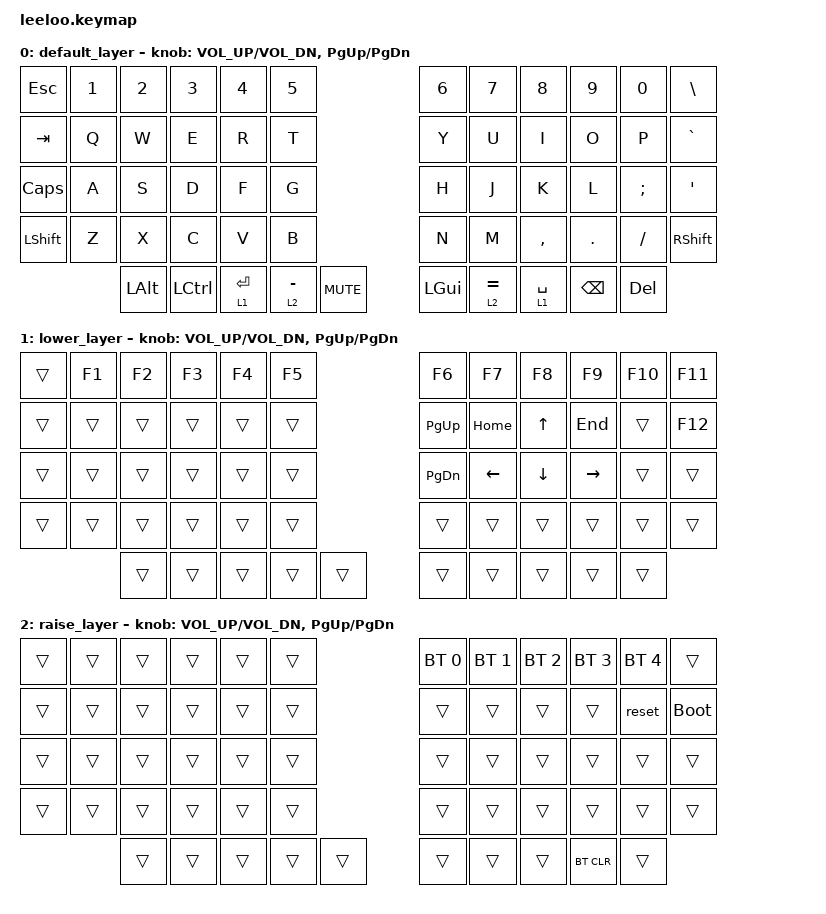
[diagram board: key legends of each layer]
/*
 * Copyright (c) 2022 The ZMK Contributors
 *
 * SPDX-License-Identifier: MIT
 */
#include <behaviors.dtsi>
#include <dt-bindings/zmk/outputs.h>
#include <dt-bindings/zmk/keys.h>
#include <dt-bindings/zmk/bt.h>

// Layers
#define DEFAULT    0       // default_layer
#define LOWER      1       // lower_layer
#define RAISE      2       // raise_layer

/ {

    keymap {
        compatible = "zmk,keymap";

        default_layer {
            bindings = <
&kp ESC    &kp N1     &kp N2     &kp N3     &kp N4     &kp N5                           &kp N6     &kp N7     &kp N8     &kp N9     &kp N0     &kp BSLH
&kp TAB    &kp Q      &kp W      &kp E      &kp R      &kp T                            &kp Y      &kp U      &kp I      &kp O      &kp P      &kp GRAV
&kp CAPS   &kp A      &kp S      &kp D      &kp F      &kp G                            &kp H      &kp J      &kp K      &kp L      &kp SEMI   &kp SQT
&kp LSHFT  &kp Z      &kp X      &kp C      &kp V      &kp B                            &kp N      &kp M      &kp COMMA  &kp DOT    &kp FSLH   &kp RSHFT
                   &kp LALT   &kp LCTRL  &lt 1 RET  &lt 2 MINUS   &kp K_MUTE   &kp LGUI   &lt 2 EQUAL  &lt 1 SPACE  &kp BSPC   &kp DEL
            >;

            sensor-bindings = <&inc_dec_kp C_VOL_UP C_VOL_DN &inc_dec_kp PG_UP PG_DN>;
        };

        lower_layer {
            bindings = <
&trans     &kp F1     &kp F2     &kp F3     &kp F4     &kp F5                           &kp F6     &kp F7     &kp F8     &kp F9     &kp F10    &kp F11
&trans     &trans     &trans     &trans     &trans     &trans                           &kp PG_UP  &kp HOME   &kp UP     &kp END    &trans     &kp F12
&trans     &trans     &trans     &trans     &trans     &trans                           &kp PG_DN  &kp LEFT   &kp DOWN   &kp RIGHT  &trans     &trans
&trans     &trans     &trans     &trans     &trans     &trans                           &trans     &trans     &trans     &trans     &trans     &trans
                      &trans     &trans     &trans     &trans     &trans     &trans     &trans     &trans     &trans     &trans
            >;

            sensor-bindings = <&inc_dec_kp C_VOL_UP C_VOL_DN &inc_dec_kp PG_UP PG_DN>;
        };

        raise_layer {
            bindings = <
&trans     &trans     &trans     &trans     &trans     &trans                           &bt BT_SEL 0  &bt BT_SEL 1  &bt BT_SEL 2  &bt BT_SEL 3  &bt BT_SEL 4  &trans
&trans     &trans     &trans     &trans     &trans     &trans                           &trans        &trans        &trans        &trans        &reset        &bootloader
&trans     &trans     &trans     &trans     &trans     &trans                           &trans        &trans        &trans        &trans        &trans        &trans
&trans     &trans     &trans     &trans     &trans     &trans                           &trans        &trans        &trans        &trans        &trans        &trans
                      &trans     &trans     &trans     &trans     &trans     &trans     &trans        &trans        &bt BT_CLR    &trans
            >;

            sensor-bindings = <&inc_dec_kp C_VOL_UP C_VOL_DN &inc_dec_kp PG_UP PG_DN>;
        };

    };
};
